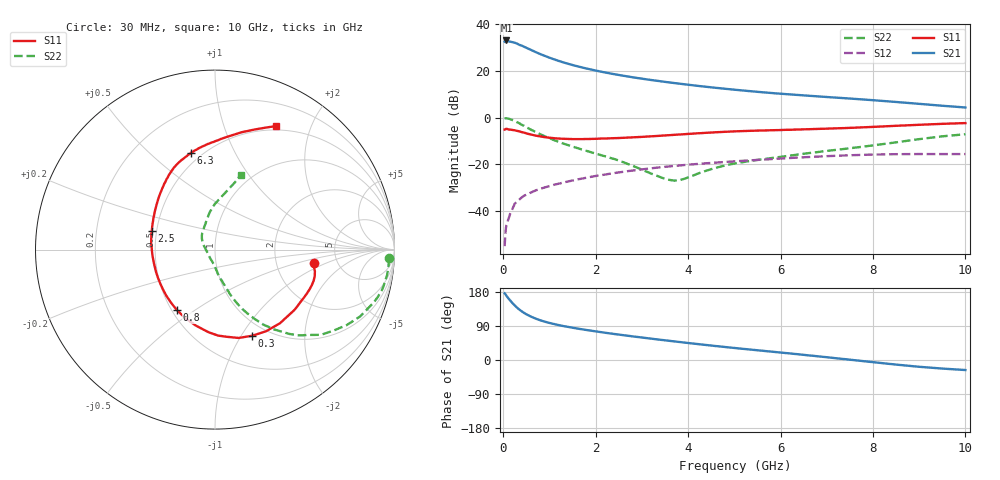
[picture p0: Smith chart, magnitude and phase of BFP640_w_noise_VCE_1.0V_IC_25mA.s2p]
! (c) 2013  Infineon Technologies AG, Munich
! Infineon Technologies  Discrete & RF Semiconductors
! BFP640
! VCE =  1.0 V,  IC =  25 mA
! Common Emitter S-Parameters:  Apr 2013
# GHz  S  MA  R  50
!  f  S11  S21  S12  S22
! GHz  MAG  ANG  MAG  ANG  MAG  ANG  MAG  ANG
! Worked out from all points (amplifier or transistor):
!   99 points, 30 MHz to 10 GHz, reference 50 ohm
!   highest |S21| = 33.0 dB at 70 MHz (marker M1)
!   |S21| within 3 dB of that: start of sweep to 485.3 MHz
!   unconditionally stable (mu >= 1): 2.336 GHz to end of sweep
!   at 350 MHz: K = 0.30, MSG = 33.0 dB, |S12| = -34.9 dB
!   at 3.5 GHz: K = 1.05, MAG = 16.8 dB, |S12| = -21.0 dB
!   at 10 GHz: K = 1.08, MAG = 8.3 dB, |S12| = -15.5 dB
!   lowest NFmin = 0.95 dB at 450 MHz
!   S11 on the Smith chart (normalised r, x): 30 MHz: 3.34, -0.73; 300 MHz: 0.85, -1.12; 800 MHz: 0.53, -0.42; 2.5 GHz: 0.47, +0.12; 6.3 GHz: 0.44, +0.69; 10 GHz: 0.45, +1.51
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0.03  0.5567 -7.8  42.24 175.9  0.0018 100.1  0.9686 -2.9
0.07  0.5763 -17.7  44.63 169.5  0.005 78.7  0.9693 -8.4
0.11  0.5635 -28.1  43.07 163.0  0.0068 82.3  0.9561 -13.9
0.2  0.5472 -48.6  40.97 150.0  0.0113 72.7  0.8906 -24.7
0.25  0.5366 -57.9  39.88 143.9  0.0146 70.9  0.846 -29.8
0.3  0.5229 -66.6  38.19 138.0  0.0161 68.2  0.7993 -34.4
0.35  0.5096 -75.0  35.92 132.9  0.0179 66.4  0.7577 -38.8
0.4  0.4912 -81.8  34.64 128.5  0.0198 63.4  0.7054 -42.4
0.5  0.4621 -94.4  31.09 120.7  0.0226 61.0  0.6265 -48.6
0.6  0.4359 -104.5  28.1 114.5  0.0252 58.9  0.5545 -53.4
0.7  0.4148 -114.0  25.24 109.3  0.0279 58.0  0.497 -57.2
0.8  0.3979 -122.4  22.87 104.9  0.0301 57.1  0.4439 -60.3
1  0.3735 -136.7  19.13 97.8  0.0346 55.9  0.3639 -65.3
1.2  0.3584 -148.7  16.33 92.2  0.0389 55.1  0.3048 -68.8
1.7  0.3489 -171.9  11.86 81.1  0.0499 53.3  0.209 -74.6
2.5  0.3676 163.2  8.176 67.1  0.0678 48.2  0.1214 -85.0
3.4  0.4112 142.3  6.006 53.4  0.087 41.3  0.0538 -121.6
5.1  0.5142 115.7  3.875 30.5  0.1184 26.5  0.1091 132.0
6.3  0.5563 103.8  3.093 16.1  0.1393 16.0  0.1592 108.7
6.7  0.5712 99.3  2.9 11.1  0.1458 12.2  0.1794 103.7
8.5  0.6706 77.2  2.166 -12.1  0.1662 -6.3  0.2973 82.9
10  0.7672 63.7  1.652 -26.5  0.1671 -17.9  0.4427 70.9
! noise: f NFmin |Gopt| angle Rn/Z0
0.45  0.95  0.16  -171  0.01
0.9  0.96  0.18  -158  0.02
1.5  0.98  0.19  -144  0.04
1.9  1  0.21  -136  0.05
2.4  1.03  0.24  -121  0.06
3.5  1.15  0.26  -104  0.1
5.5  1.35  0.29  -94  0.17
10  1.83  0.59  -53  0.52
